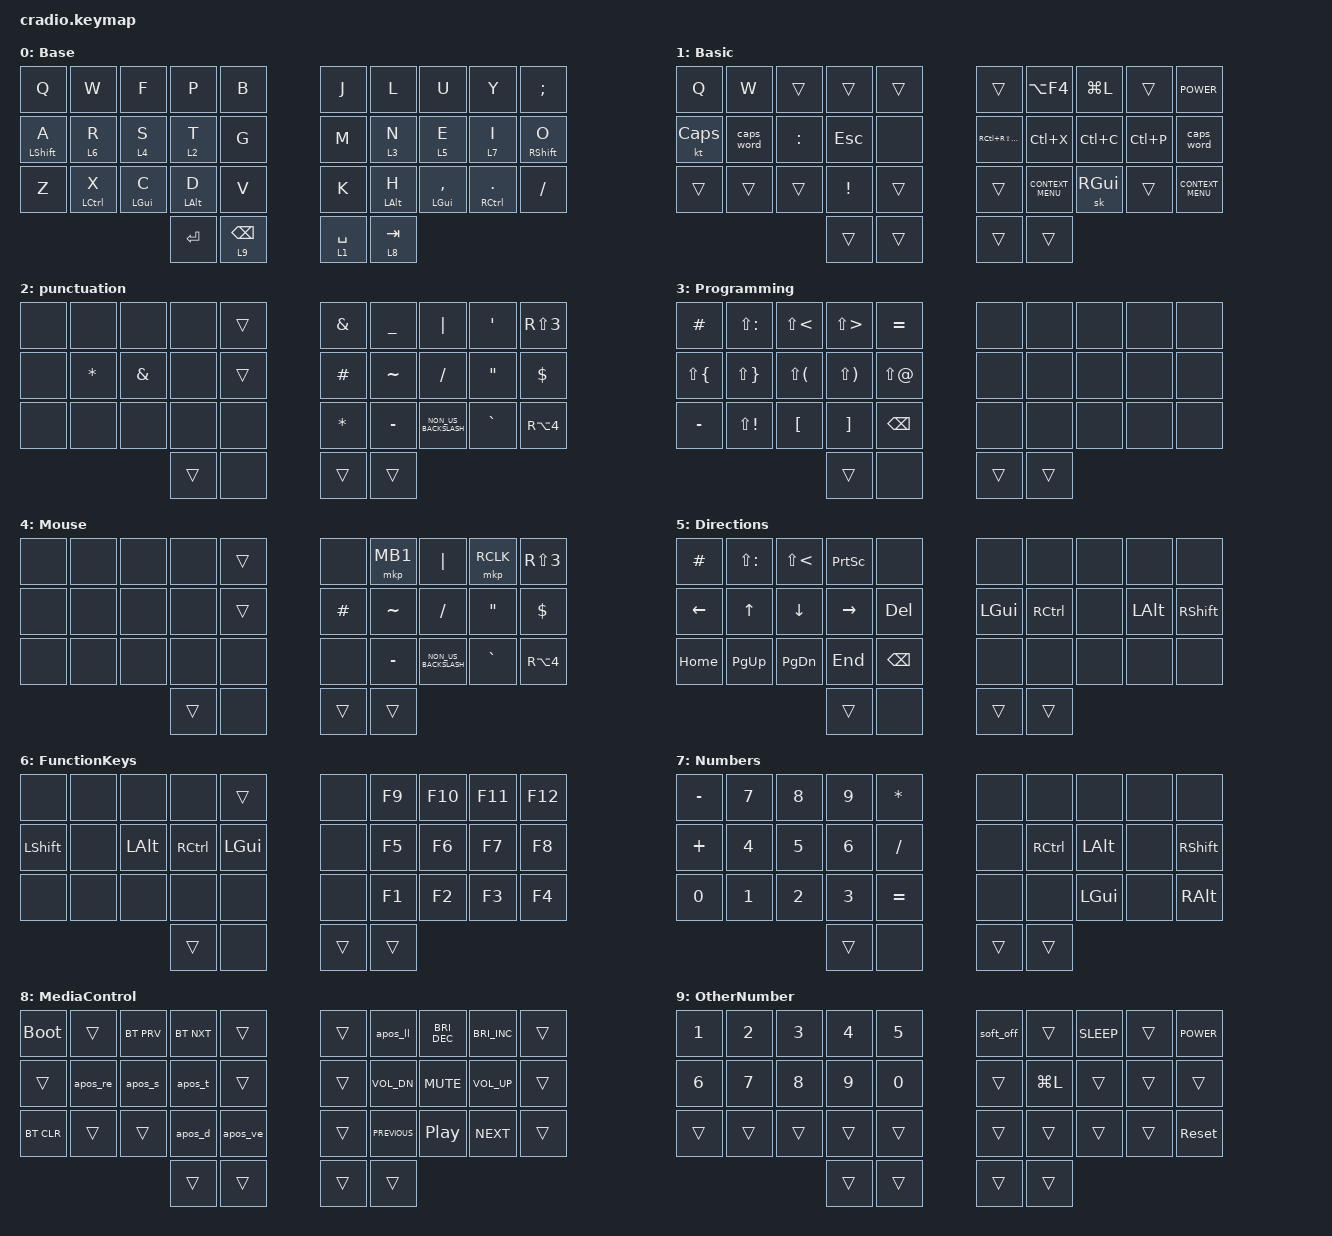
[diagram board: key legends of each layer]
// Copyright (c) 2022 The ZMK Contributors
// SPDX-License-Identifier: MIT

#include <behaviors.dtsi>
#include <dt-bindings/zmk/bt.h>
#include <dt-bindings/zmk/keys.h>
#include <dt-bindings/zmk/keys.h>
#include <dt-bindings/zmk/mouse.h>

// Home row mods macro

#define HRML(k1,k2,k3,k4) &ht LSHFT k1  &ht LALT k2  &ht LCTRL k3  &ht LGUI k4
#define HRMR(k1,k2,k3,k4) &ht RGUI k1  &ht RCTRL k2  &ht RALT k3  &ht RSHFT k4

#define DEF 0
#define PUN 1
#define PRG 2
#define SYM 3
#define NAV 4
#define FUN 5
#define NUM 6
#define MED 7
#define TOP 8

/ {
    behaviors {
        ht: hold_tap {
            compatible = "zmk,behavior-hold-tap";
            #binding-cells = <2>;
            flavor = "tap-preferred";
            tapping-term-ms = <220>;
            quick-tap-ms = <150>;
            require-prior-idle-ms = <100>;
            bindings = <&kp>, <&kp>;
        };
    };

    conditional_layers { compatible = "zmk,conditional-layers"; };

    combos {
        compatible = "zmk,combos";

        Escape {
            bindings = <&kp ESCAPE>;
            key-positions = <11 13>;
        };
    };

    macros {
        apos_t: apos_t {
            compatible = "zmk,behavior-macro";
            #binding-cells = <0>;
            bindings = <&kp SQT &kp T>;
            label = "APOS_T";
        };

        apos_re: apos_re {
            compatible = "zmk,behavior-macro";
            #binding-cells = <0>;
            bindings = <&kp SQT &kp R &kp E>;
            label = "APOS_RE";
        };

        apos_ll: apos_ll {
            compatible = "zmk,behavior-macro";
            #binding-cells = <0>;
            bindings = <&kp SQT &kp L &kp L>;
            label = "APOS_LL";
        };

        apos_s: apos_s {
            compatible = "zmk,behavior-macro";
            #binding-cells = <0>;
            bindings = <&kp SQT &kp S>;
            label = "APOS_S";
        };

        apos_d: apos_d {
            compatible = "zmk,behavior-macro";
            #binding-cells = <0>;
            bindings = <&kp SQT &kp D>;
            label = "APOS_D";
        };

        apos_ve: apos_ve {
            compatible = "zmk,behavior-macro";
            #binding-cells = <0>;
            bindings = <&kp SQT &kp V &kp E>;
            label = "APOS_VE";
        };
    };

    keymap {
        compatible = "zmk,keymap";

        Base {
            bindings = <
&kp Q             &kp W               &kp F           &kp P           &kp B              &kp J        &kp L           &kp U               &kp Y                  &kp SEMICOLON
&ht LEFT_SHIFT A  &lt 6 R             &lt 4 S         &lt 2 T         &kp G              &kp M        &lt 3 N         &lt 5 E             &lt 7 I                &ht RSHFT O
&kp Z             &ht LEFT_CONTROL X  &ht LEFT_GUI C  &ht LEFT_ALT D  &kp V              &kp K        &ht LEFT_ALT H  &ht LEFT_GUI COMMA  &ht RIGHT_CONTROL DOT  &kp FSLH
                                                      &kp ENTER       &lt 9 BACKSPACE    &lt 1 SPACE  &lt 8 TAB
            >;
        };

        Basic {
            bindings = <
&kp Q     &kp W       &trans     &trans      &trans    &trans              &kp LA(F4)          &kp LG(L)      &trans     &kp C_POWER
&kt CAPS  &caps_word  &kp COLON  &kp ESCAPE  &none     &kp RC(RS(ESCAPE))  &kp LC(X)           &kp LC(C)      &kp LC(P)  &caps_word
&trans    &trans      &trans     &kp EXCL    &trans    &trans              &kp K_CONTEXT_MENU  &sk RIGHT_GUI  &trans     &kp K_CONTEXT_MENU
                                 &trans      &trans    &trans              &trans
            >;
        };

        punctuation {
            bindings = <
&none  &none         &none          &none   &trans    &kp AMPS      &kp UNDERSCORE  &kp PIPE              &kp SQT            &kp RS(NUMBER_3)
&none  &kp ASTERISK  &kp AMPERSAND  &none   &trans    &kp HASH      &kp TILDE       &kp FSLH              &kp DOUBLE_QUOTES  &kp DOLLAR
&none  &none         &none          &none   &none     &kp ASTERISK  &kp MINUS       &kp NON_US_BACKSLASH  &kp GRAVE          &kp RA(NUMBER_4)
                                    &trans  &none     &trans        &trans
            >;
        };

        Programming {
            bindings = <
&kp HASH      &kp LS(COLON)  &kp LS(LT)    &kp LS(GT)    &kp EQUAL     &none   &none   &none  &none  &none
&kp LS(LBRC)  &kp LS(RBRC)   &kp LS(LPAR)  &kp LS(RPAR)  &kp LS(AT)    &none   &none   &none  &none  &none
&kp MINUS     &kp LS(EXCL)   &kp LBKT      &kp RBKT      &kp BSPC      &none   &none   &none  &none  &none
                                           &trans        &none         &trans  &trans
            >;
        };

        Mouse {
            bindings = <
&none  &none  &none  &none   &trans    &none     &mkp MB1   &kp PIPE              &mkp RCLK          &kp RS(NUMBER_3)
&none  &none  &none  &none   &trans    &kp HASH  &kp TILDE  &kp FSLH              &kp DOUBLE_QUOTES  &kp DOLLAR
&none  &none  &none  &none   &none     &none     &kp MINUS  &kp NON_US_BACKSLASH  &kp GRAVE          &kp RA(NUMBER_4)
                     &trans  &none     &trans    &trans
            >;
        };

        Directions {
            bindings = <
&kp HASH  &kp LS(COLON)  &kp LS(LT)      &kp PRINTSCREEN  &none         &none         &none              &none  &none         &none
&kp LEFT  &kp UP_ARROW   &kp DOWN_ARROW  &kp RIGHT        &kp DELETE    &kp LEFT_GUI  &kp RIGHT_CONTROL  &none  &kp LEFT_ALT  &kp RIGHT_SHIFT
&kp HOME  &kp PG_UP      &kp PAGE_DOWN   &kp END          &kp BSPC      &none         &none              &none  &none         &none
                                         &trans           &none         &trans        &trans
            >;
        };

        FunctionKeys {
            bindings = <
&none           &none  &none         &none      &trans          &none   &kp F9  &kp F10  &kp F11  &kp F12
&kp LEFT_SHIFT  &none  &kp LEFT_ALT  &kp RCTRL  &kp LEFT_GUI    &none   &kp F5  &kp F6   &kp F7   &kp F8
&none           &none  &none         &none      &none           &none   &kp F1  &kp F2   &kp F3   &kp F4
                                     &trans     &none           &trans  &trans
            >;
        };

        Numbers {
            bindings = <
&kp MINUS     &kp N7        &kp N8        &kp N9        &kp ASTERISK    &none   &none              &none         &none  &none
&kp PLUS      &kp NUMBER_4  &kp N5        &kp NUMBER_6  &kp SLASH       &none   &kp RIGHT_CONTROL  &kp LEFT_ALT  &none  &kp RIGHT_SHIFT
&kp NUMBER_0  &kp NUMBER_1  &kp NUMBER_2  &kp NUMBER_3  &kp EQUAL       &none   &none              &kp LEFT_GUI  &none  &kp RIGHT_ALT
                                          &trans        &none           &trans  &trans
            >;
        };

        MediaControl {
            bindings = <
&bootloader  &trans    &bt BT_PRV  &bt BT_NXT  &trans      &trans  &apos_ll        &kp C_BRIGHTNESS_DEC  &kp C_BRIGHTNESS_INC  &trans
&trans       &apos_re  &apos_s     &apos_t     &trans      &trans  &kp C_VOL_DN    &kp C_MUTE            &kp C_VOLUME_UP       &trans
&bt BT_CLR   &trans    &trans      &apos_d     &apos_ve    &trans  &kp C_PREVIOUS  &kp C_PLAY_PAUSE      &kp C_NEXT            &trans
                                   &trans      &trans      &trans  &trans
            >;
        };

        OtherNumber {
            bindings = <
&kp N1  &kp N2  &kp N3  &kp N4  &kp N5    &soft_off  &trans     &kp K_SLEEP  &trans  &kp K_POWER
&kp N6  &kp N7  &kp N8  &kp N9  &kp N0    &trans     &kp LG(L)  &trans       &trans  &trans
&trans  &trans  &trans  &trans  &trans    &trans     &trans     &trans       &trans  &sys_reset
                        &trans  &trans    &trans     &trans
            >;
        };
    };
};
